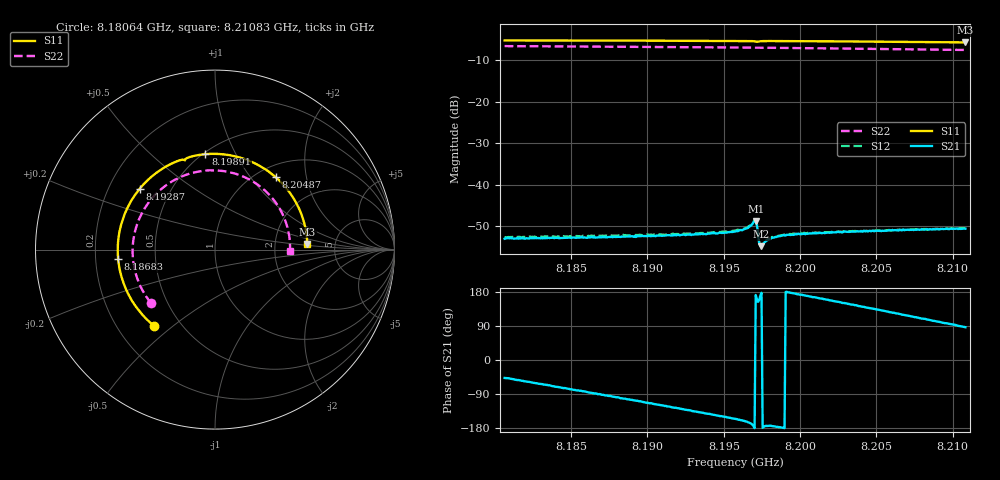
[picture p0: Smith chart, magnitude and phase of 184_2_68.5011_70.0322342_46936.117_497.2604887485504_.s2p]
#  HZ  S  RI  R  50.00
! Rohde & Schwarz Vector Network Analyzer
! Rohde-Schwarz,ZNB20-2Port,1311601062101988,3.16
! Created: UTC 3/20/2024, 4:56:50 PM
! freq[Hz]  re:S11  im:S11  re:S21  im:S21  re:S12  im:S12  re:S22  im:S22
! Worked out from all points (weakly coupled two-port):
!   401 points, 8.18064 GHz to 8.21083 GHz, reference 50 ohm
!   highest |S21| = -48.83 dB at 8.1971 GHz (marker M1); lowest = -54.8 dB at 8.19747 GHz (marker M2)
!   lowest |S11| = -5.8 dB at 8.21083 GHz (marker M3), VSWR 3.13, Z = 155 + j13.1 ohm
!   |S11| at or under -10 dB: nowhere
!   |S22| runs from -7.6 to -6.7 dB; largest |S21 - S12| = 0.00018
!   S11 on the Smith chart (normalised r, x): 8.18064 GHz: 0.36, -0.43; 8.18683 GHz: 0.30, -0.05; 8.19287 GHz: 0.33, +0.32; 8.19891 GHz: 0.51, +0.76; 8.20487 GHz: 1.20, +1.34; 8.21083 GHz: 3.10, +0.26
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8.180643e9  -0.3412 -0.4234  0.00151 -0.00164  0.00157 -0.00172  -0.3569 -0.2981
8.18336e9  -0.4643 -0.2818  0.000937 -0.00208  0.000953 -0.00212  -0.431 -0.1669
8.1857e9  -0.5263 -0.1317  0.000338 -0.00231  0.000307 -0.00234  -0.4581 -0.0402
8.186832e9  -0.5395 -0.0538  3.84e-06 -0.00232  -3.62e-05 -0.00242  -0.458 0.0225
8.188718e9  -0.5359 0.0776  -0.000569 -0.0023  -0.000609 -0.00238  -0.4393 0.1253
8.190756e9  -0.4962 0.2144  -0.00114 -0.00215  -0.00122 -0.00218  -0.3929 0.2281
8.192869e9  -0.4185 0.3403  -0.00171 -0.00179  -0.00184 -0.0018  -0.3195 0.3192
8.195737e9  -0.2631 0.4684  -0.00247 -0.00115  -0.00258 -0.00109  -0.1863 0.4068
8.196416e9  -0.2192 0.4893  -0.0028 -0.000915  -0.00287 -0.000838  -0.1506 0.4202
8.196944e9  -0.1808 0.5008  -0.00349 -0.000355  -0.00355 -0.000205  -0.122 0.4285
8.19702e9  -0.1749 0.5006  -0.00361 -4.68e-06  -0.00373 0.000112  -0.1179 0.4293
8.197095e9  -0.1698 0.4991  -0.00358 0.000537  -0.00368 0.000685  -0.1138 0.4303
8.197321e9  -0.1655 0.5029  -0.00183 0.000711  -0.00186 0.000797  -0.1018 0.4329
8.197472e9  -0.1558 0.5101  -0.00181 8.87e-05  -0.00186 0.000175  -0.0934 0.4348
8.198001e9  -0.1176 0.522  -0.00218 -0.000249  -0.00225 -0.000182  -0.0638 0.4391
8.198906e9  -0.0534 0.5317  -0.00247 -4.88e-05  -0.00249 4.94e-05  -0.0125 0.4419
8.200793e9  0.0798 0.5263  -0.00252 0.000625  -0.00253 0.000742  0.0934 0.4284
8.202755e9  0.2121 0.4854  -0.00233 0.00131  -0.00228 0.00139  0.1976 0.3871
8.204868e9  0.3374 0.4042  -0.00193 0.00195  -0.00188 0.00203  0.2948 0.3135
8.205849e9  0.3865 0.355  -0.00166 0.00226  -0.00162 0.00233  0.3322 0.2701
8.208415e9  0.4804 0.1993  -0.000812 0.00276  -0.000726 0.0028  0.4004 0.1351
8.21083e9  0.5143 0.0309  0.000177 0.00294  0.000246 0.00298  0.4176 -0.0088
